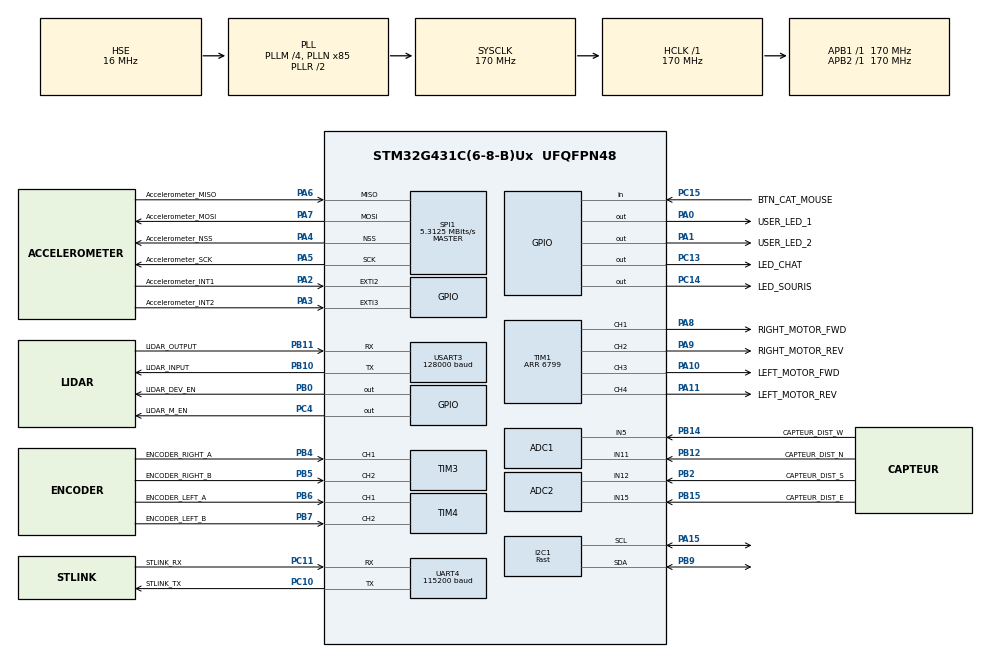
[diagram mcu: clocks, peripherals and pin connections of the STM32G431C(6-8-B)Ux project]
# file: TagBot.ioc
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ADC1.Channel-0\#ChannelRegularConversion=ADC_CHANNEL_11
ADC1.NbrOfConversionFlag=1
ADC1.OffsetNumber-0\#ChannelRegularConversion=ADC_OFFSET_NONE
ADC1.Rank-0\#ChannelRegularConversion=1
ADC1.SamplingTime-0\#ChannelRegularConversion=ADC_SAMPLETIME_2CYCLES_5
ADC1.master=1
ADC2.Channel-1\#ChannelRegularConversion=ADC_CHANNEL_12
ADC2.DMAContinuousRequests=ENABLE
ADC2.ExternalTrigConv=ADC_EXTERNALTRIG_T6_TRGO
ADC2.NbrOfConversionFlag=1
ADC2.OffsetNumber-1\#ChannelRegularConversion=ADC_OFFSET_NONE
ADC2.Rank-1\#ChannelRegularConversion=1
ADC2.SamplingTime-1\#ChannelRegularConversion=ADC_SAMPLETIME_2CYCLES_5
Dma.ADC2.0.Direction=DMA_PERIPH_TO_MEMORY
Dma.ADC2.0.EventEnable=DISABLE
Dma.ADC2.0.Instance=DMA1_Channel1
Dma.ADC2.0.MemDataAlignment=DMA_MDATAALIGN_HALFWORD
Dma.ADC2.0.MemInc=DMA_MINC_ENABLE
Dma.ADC2.0.Mode=DMA_CIRCULAR
Dma.ADC2.0.PeriphDataAlignment=DMA_PDATAALIGN_HALFWORD
Dma.ADC2.0.PeriphInc=DMA_PINC_DISABLE
Dma.ADC2.0.Polarity=HAL_DMAMUX_REQ_GEN_RISING
Dma.ADC2.0.Priority=DMA_PRIORITY_LOW
Dma.ADC2.0.RequestNumber=1
Dma.ADC2.0.SignalID=NONE
Dma.ADC2.0.SyncEnable=DISABLE
Dma.ADC2.0.SyncPolarity=HAL_DMAMUX_SYNC_NO_EVENT
Dma.ADC2.0.SyncRequestNumber=1
Dma.ADC2.0.SyncSignalID=NONE
Dma.Request0=ADC2
I2C1.I2C_Speed_Mode=I2C_Fast
I2C1.Timing=0x40621236
Mcu.Family=STM32G4
Mcu.Name=STM32G431C(6-8-B)Ux
Mcu.Package=UFQFPN48
NVIC.DMA1_Channel1_IRQn=true\:0\:0\:false\:false\:true\:false\:true\:true
NVIC.PriorityGroup=NVIC_PRIORITYGROUP_4
NVIC.TIM6_DAC_IRQn=true\:0\:0\:false\:false\:true\:true\:true\:true
PA0.GPIO_Label=USER_LED_1
PA0.Signal=GPIO_Output
PA1.GPIO_Label=USER_LED_2
PA1.Signal=GPIO_Output
PA10.GPIO_Label=LEFT_MOTOR_FWD
PA10.Signal=S_TIM1_CH3
PA11.GPIO_Label=LEFT_MOTOR_REV
PA11.Signal=S_TIM1_CH4
PA13.Mode=Trace_Asynchronous_SW
PA13.Signal=SYS_JTMS-SWDIO
PA14.Mode=Trace_Asynchronous_SW
PA14.Signal=SYS_JTCK-SWCLK
PA15.Mode=I2C
PA15.Signal=I2C1_SCL
PA2.GPIO_Label=Accelerometer_INT1
PA2.Signal=GPXTI2
PA3.GPIO_Label=Accelerometer_INT2
PA3.Signal=GPXTI3
PA4.GPIO_Label=Accelerometer_NSS
PA4.Mode=NSS_Signal_Hard_Output
PA4.Signal=SPI1_NSS
PA5.GPIO_Label=Accelerometer_SCK
PA5.Mode=Full_Duplex_Master
PA5.Signal=SPI1_SCK
PA6.GPIO_Label=Accelerometer_MISO
PA6.Mode=Full_Duplex_Master
PA6.Signal=SPI1_MISO
PA7.GPIO_Label=Accelerometer_MOSI
PA7.Mode=Full_Duplex_Master
PA7.Signal=SPI1_MOSI
PA8.GPIO_Label=RIGHT_MOTOR_FWD
PA8.Signal=S_TIM1_CH1
PA9.GPIO_Label=RIGHT_MOTOR_REV
PA9.Signal=S_TIM1_CH2
PB0.GPIO_Label=LIDAR_DEV_EN
PB0.Signal=GPIO_Output
PB1.GPIO_Label=LIDAR_M_SCTR
PB1.Signal=S_TIM3_CH4
PB10.GPIO_Label=LIDAR_INPUT
PB10.Mode=Asynchronous
PB10.Signal=USART3_TX
PB11.GPIO_Label=LIDAR_OUTPUT
PB11.Mode=Asynchronous
PB11.Signal=USART3_RX
PB12.GPIO_Label=CAPTEUR_DIST_N
PB12.Mode=IN11-Single-Ended
PB12.Signal=ADC1_IN11
PB14.GPIO_Label=CAPTEUR_DIST_W
PB14.Mode=IN5-Single-Ended
PB14.Signal=ADC1_IN5
PB15.GPIO_Label=CAPTEUR_DIST_E
PB15.Mode=IN15-Single-Ended
PB15.Signal=ADC2_IN15
PB2.GPIO_Label=CAPTEUR_DIST_S
PB2.Mode=IN12-Single-Ended
PB2.Signal=ADC2_IN12
PB3.Mode=Trace_Asynchronous_SW
PB3.Signal=SYS_JTDO-SWO
PB4.GPIO_Label=ENCODER_RIGHT_A
PB4.Signal=S_TIM3_CH1
PB5.GPIO_Label=ENCODER_RIGHT_B
PB5.Signal=S_TIM3_CH2
PB6.GPIO_Label=ENCODER_LEFT_A
PB6.Signal=S_TIM4_CH1
PB7.GPIO_Label=ENCODER_LEFT_B
PB7.Signal=S_TIM4_CH2
PB9.Mode=I2C
PB9.Signal=I2C1_SDA
PC10.GPIO_Label=STLINK_TX
PC10.Mode=Asynchronous
PC10.Signal=UART4_TX
PC11.GPIO_Label=STLINK_RX
PC11.Mode=Asynchronous
PC11.Signal=UART4_RX
PC13.GPIO_Label=LED_CHAT
PC13.Signal=GPIO_Output
PC14-OSC32_IN.GPIO_Label=LED_SOURIS
PC14-OSC32_IN.Signal=GPIO_Output
PC15-OSC32_OUT.GPIO_Label=BTN_CAT_MOUSE
PC15-OSC32_OUT.Signal=GPIO_Input
PC4.GPIO_Label=LIDAR_M_EN
PC4.Signal=GPIO_Output
PF0-OSC_IN.Mode=HSE-External-Oscillator
PF0-OSC_IN.Signal=RCC_OSC_IN
PF1-OSC_OUT.Mode=HSE-External-Oscillator
PF1-OSC_OUT.Signal=RCC_OSC_OUT
ProjectManager.HeapSize=0x200
ProjectManager.StackSize=0x400
ProjectManager.TargetToolchain=STM32CubeIDE
RCC.ADC12Freq_Value=170000000
RCC.AHBFreq_Value=170000000
RCC.APB1Freq_Value=170000000
RCC.APB1TimFreq_Value=170000000
RCC.APB2Freq_Value=170000000
RCC.APB2TimFreq_Value=170000000
RCC.CortexFreq_Value=170000000
RCC.EXTERNAL_CLOCK_VALUE=12288000
RCC.HCLKFreq_Value=170000000
RCC.HSE_VALUE=16000000
RCC.HSI48_VALUE=48000000
RCC.HSI_VALUE=16000000
RCC.LSE_VALUE=32768
RCC.PLLM=RCC_PLLM_DIV4
RCC.PLLN=85
RCC.PLLSourceVirtual=RCC_PLLSOURCE_HSE
RCC.SYSCLKFreq_VALUE=170000000
RCC.SYSCLKSource=RCC_SYSCLKSOURCE_PLLCLK
RCC.USBFreq_Value=170000000
RCC.VCOOutputFreq_Value=340000000
SH.S_TIM1_CH1.0=TIM1_CH1,PWM Generation1 CH1
SH.S_TIM1_CH2.0=TIM1_CH2,PWM Generation2 CH2
SH.S_TIM1_CH3.0=TIM1_CH3,PWM Generation3 CH3
SH.S_TIM1_CH4.0=TIM1_CH4,PWM Generation4 CH4
SH.S_TIM3_CH1.0=TIM3_CH1,Encoder_Interface
SH.S_TIM3_CH2.0=TIM3_CH2,Encoder_Interface
SH.S_TIM3_CH4.0=TIM3_CH4
SH.S_TIM4_CH1.0=TIM4_CH1,Encoder_Interface
SH.S_TIM4_CH2.0=TIM4_CH2,Encoder_Interface
SPI1.BaudRatePrescaler=SPI_BAUDRATEPRESCALER_32
SPI1.CLKPolarity=SPI_POLARITY_HIGH
SPI1.CalculateBaudRate=5.3125 MBits/s
SPI1.Direction=SPI_DIRECTION_2LINES
SPI1.Mode=SPI_MODE_MASTER
SPI1.VirtualNSS=VM_NSSHARD
SPI1.VirtualType=VM_MASTER
TIM1.AutoReloadPreload=TIM_AUTORELOAD_PRELOAD_ENABLE
TIM1.AutomaticOutput=TIM_AUTOMATICOUTPUT_DISABLE
TIM1.BreakState=TIM_BREAK_DISABLE
TIM1.Channel-PWM\ Generation1\ CH1=TIM_CHANNEL_1
TIM1.Channel-PWM\ Generation2\ CH2=TIM_CHANNEL_2
TIM1.Channel-PWM\ Generation3\ CH3=TIM_CHANNEL_3
TIM1.Channel-PWM\ Generation4\ CH4=TIM_CHANNEL_4
TIM1.PeriodNoDither=6799
TIM1.PulseNoDither_1=3400
TIM3.AutoReloadPreload=TIM_AUTORELOAD_PRELOAD_ENABLE
TIM4.AutoReloadPreload=TIM_AUTORELOAD_PRELOAD_ENABLE
TIM6.PeriodNoDither=999
TIM6.Prescaler=169
TIM6.TIM_MasterOutputTrigger=TIM_TRGO_UPDATE
UART4.BaudRate=115200
UART4.SwapParam=UART_ADVFEATURE_SWAP_ENABLE
USART3.BaudRate=128000
USART3.VirtualMode-Asynchronous=VM_ASYNC
VP_SYS_VS_DBSignals.Mode=DisableDeadBatterySignals
VP_TIM6_VS_ClockSourceINT.Mode=Enable_Timer
board=custom

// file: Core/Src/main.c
/* USER CODE BEGIN Header */
/**
  ******************************************************************************
  * @file           : main.c
  * @brief          : Main program body
  ******************************************************************************
  * @attention
  *
  * Copyright (c) 2024 STMicroelectronics.
  * All rights reserved.
  *
  * This software is licensed under terms that can be found in the LICENSE file
  * in the root directory of this software component.
  * If no LICENSE file comes with this software, it is provided AS-IS.
  *
  ******************************************************************************
  */
/* USER CODE END Header */
#include "main.h"
#include "adc.h"
#include "dma.h"
#include "i2c.h"
#include "spi.h"
#include "tim.h"
#include "usart.h"
#include "gpio.h"

/* USER CODE BEGIN Includes */
#include "stm32g4xx_hal.h"
#include <stdbool.h>
#include <stdio.h>
#include <string.h>
/* USER CODE END Includes */

/* USER CODE BEGIN PD */
#define ADC_DMA
//#define ADC
/* USER CODE END PD */

void SystemClock_Config(void);

/* USER CODE BEGIN 0 */
int __io_putchar(int chr)
{
	HAL_UART_Transmit(&huart4, (uint8_t*)&chr, 1, HAL_MAX_DELAY);
	return chr;
}

#ifdef ADC_DMA

uint32_t adc_value = 0;
volatile uint8_t adc_ready = 0; // Flag pour indiquer que la valeur est prête à être afficher

void HAL_ADC_ConvCpltCallback(ADC_HandleTypeDef *hadc)
{
	if (ADC2 == hadc->Instance)
	{
		adc_ready = 1;
		// Si la valeur ADC est supérieure à 1000 (la distance avec le capteur est élevée, mettre le flag à 1
//		if (adc_value < 1000)
//		{
//			adc_ready = 1;
//		}
	}
}

#endif

/* USER CODE END 0 */

int main(void)
{

  /* USER CODE BEGIN 1 */
	//to disable timer in debug mode

  /* USER CODE END 1 */

  /* MCU Configuration--------------------------------------------------------*/

  /* Reset of all peripherals, Initializes the Flash interface and the Systick. */
  HAL_Init();

  /* Configure the system clock */
  SystemClock_Config();

  /* Initialize all configured peripherals */
  MX_GPIO_Init();
  MX_DMA_Init();
  MX_UART4_Init();
  MX_SPI1_Init();
  MX_TIM4_Init();
  MX_ADC1_Init();
  MX_ADC2_Init();
  MX_TIM1_Init();
  MX_TIM3_Init();
  MX_USART3_UART_Init();
  MX_I2C1_Init();
  MX_TIM6_Init();

  /* Infinite loop */
  while (1)
  {

    /* USER CODE BEGIN 3 */

	  HAL_GPIO_TogglePin(GPIOA, GPIO_PIN_0);
	  HAL_Delay(100);

#ifdef ADC
	  HAL_ADC_Start(&hadc2);
	  HAL_ADC_PollForConversion(&hadc2, HAL_MAX_DELAY);
	  adc_value = HAL_ADC_GetValue(&hadc2);

	  printf("adc_value %lu\r\n", adc_value);
	  HAL_Delay(500);
#endif

#ifdef ADC_DMA

	// Vérifier si une nouvelle valeur ADC est prête et que le flag est actif
	if (adc_ready == 1)
	{

		printf("adc_value %lu\r\n", adc_value);
		// Réinitialiser le flag après l'affichage
		adc_ready = 0;
	}

	HAL_Delay(500);
#endif

  }
  /* USER CODE END 3 */
}

void SystemClock_Config(void)
{
  RCC_OscInitTypeDef RCC_OscInitStruct = {0};
  RCC_ClkInitTypeDef RCC_ClkInitStruct = {0};

  /** Configure the main internal regulator output voltage
  */
  HAL_PWREx_ControlVoltageScaling(PWR_REGULATOR_VOLTAGE_SCALE1_BOOST);

  /** Initializes the RCC Oscillators according to the specified parameters
  * in the RCC_OscInitTypeDef structure.
  */
  RCC_OscInitStruct.OscillatorType = RCC_OSCILLATORTYPE_HSE;
  RCC_OscInitStruct.HSEState = RCC_HSE_ON;
  RCC_OscInitStruct.PLL.PLLState = RCC_PLL_ON;
  RCC_OscInitStruct.PLL.PLLSource = RCC_PLLSOURCE_HSE;
  RCC_OscInitStruct.PLL.PLLM = RCC_PLLM_DIV4;
  RCC_OscInitStruct.PLL.PLLN = 85;
  RCC_OscInitStruct.PLL.PLLP = RCC_PLLP_DIV2;
  RCC_OscInitStruct.PLL.PLLQ = RCC_PLLQ_DIV2;
  RCC_OscInitStruct.PLL.PLLR = RCC_PLLR_DIV2;
  if (HAL_RCC_OscConfig(&RCC_OscInitStruct) != HAL_OK)
  {
    Error_Handler();
  }

  /** Initializes the CPU, AHB and APB buses clocks
  */
  RCC_ClkInitStruct.ClockType = RCC_CLOCKTYPE_HCLK|RCC_CLOCKTYPE_SYSCLK
                              |RCC_CLOCKTYPE_PCLK1|RCC_CLOCKTYPE_PCLK2;
  RCC_ClkInitStruct.SYSCLKSource = RCC_SYSCLKSOURCE_PLLCLK;
  RCC_ClkInitStruct.AHBCLKDivider = RCC_SYSCLK_DIV1;
  RCC_ClkInitStruct.APB1CLKDivider = RCC_HCLK_DIV1;
  RCC_ClkInitStruct.APB2CLKDivider = RCC_HCLK_DIV1;

  if (HAL_RCC_ClockConfig(&RCC_ClkInitStruct, FLASH_LATENCY_4) != HAL_OK)
  {
    Error_Handler();
  }
}

void Error_Handler(void)
{
  __disable_irq();
  while (1)
  {
  }
}
